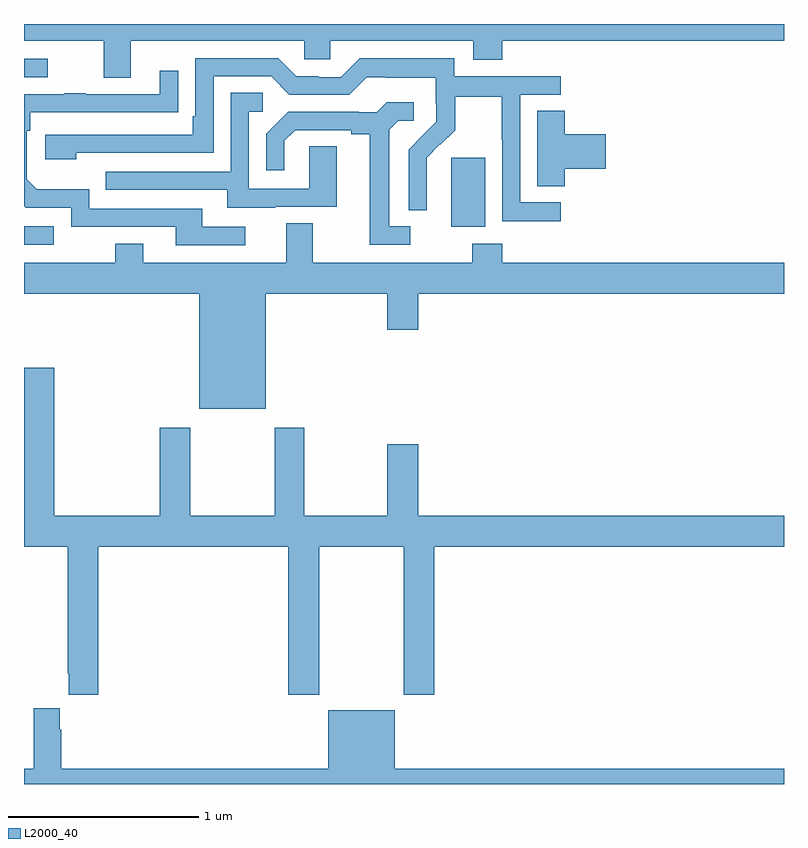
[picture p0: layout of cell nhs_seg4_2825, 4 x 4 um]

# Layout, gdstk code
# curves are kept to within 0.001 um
import gdstk
lib = gdstk.Library(unit=1e-6, precision=1e-09)
def R(c, l, rs):  # rectangles x0, y0, x1, y1
    for r in rs: c.add(gdstk.rectangle(r[:2], r[2:], *l))
def P(c, l, *ps):  # polygons
    for p in ps: c.add(gdstk.Polygon(p, *l))
L2000_40 = (2000, 40)

nhs_seg4_2825 = lib.new_cell('nhs_seg4_2825')
R(nhs_seg4_2825, L2000_40, [(259,803.739,259.156,803.835), (261.248,803.834,261.427,804.195), (259,804.621,259.126,804.717)])
P(nhs_seg4_2825, L2000_40, [(259.561,804.812),(260.475,804.812),(260.475,804.714),(260.613,804.714),(260.613,804.812),(261.365,804.812),(261.365,804.713),(261.518,804.713),(261.518,804.812),(263,804.812),(263,804.9),(259,804.9),(259,804.812),(259.421,804.812),(259.421,804.618),(259.561,804.618)],
  [(261.826,803.961),(261.612,803.961),(261.612,804.528),(261.826,804.528),(261.826,804.624),(261.264,804.624),(261.264,804.721),(260.767,804.721),(260.667,804.621),(260.552,804.621),(260.552,804.624),(260.433,804.624),(260.337,804.72),(259.902,804.72),(259.902,804.415),(259.889,804.415),(259.889,804.318),(259.113,804.318),(259.113,804.188),(259.274,804.188),(259.274,804.222),(259.998,804.222),(259.998,804.624),(260.301,804.624),(260.397,804.528),(260.712,804.528),(260.805,804.621),(260.905,804.621),(260.905,804.617),(261.168,804.617),(261.168,804.483),(261.17,804.483),(261.17,804.386),(261.024,804.238),(261.024,803.92),(261.12,803.92),(261.119,804.197),(261.189,804.267),(261.192,804.264),(261.269,804.341),(261.269,804.516),(261.514,804.516),(261.514,804.292),(261.516,804.292),(261.516,803.863),(261.826,803.863)],
  [(260.164,803.832),(259.939,803.832),(259.939,803.928),(259.344,803.928),(259.344,804.031),(259.067,804.031),(259.014,804.084),(259.014,804.338),(259.034,804.338),(259.034,804.435),(259.811,804.436),(259.811,804.655),(259.715,804.655),(259.715,804.531),(259.325,804.531),(259.325,804.536),(259.213,804.536),(259.213,804.531),(259,804.531),(259,803.942),(259.008,803.934),(259.248,803.934),(259.248,803.832),(259.799,803.832),(259.799,803.736),(260.164,803.736)],
  [(260.323,803.937),(260.647,803.937),(260.647,804.257),(260.502,804.257),(260.502,804.033),(260.184,804.033),(260.184,804.438),(260.257,804.438),(260.257,804.539),(260.088,804.539),(260.088,804.123),(259.429,804.123),(259.429,804.027),(260.069,804.027),(260.069,803.933),(260.323,803.933)],
  [(261.034,803.835),(260.923,803.835),(260.923,804.343),(260.97,804.39),(261.052,804.39),(261.052,804.487),(260.908,804.487),(260.856,804.435),(260.762,804.435),(260.762,804.438),(260.39,804.438),(260.274,804.322),(260.274,804.129),(260.371,804.129),(260.371,804.285),(260.428,804.342),(260.723,804.342),(260.723,804.32),(260.819,804.32),(260.819,803.739),(261.034,803.739)],
  [(261.845,804.137),(262.063,804.137),(262.063,804.32),(261.845,804.32),(261.845,804.443),(261.701,804.443),(261.701,804.046),(261.845,804.046)],
  [(260.272,803.48),(260.912,803.48),(260.912,803.292),(261.076,803.292),(261.076,803.48),(263,803.48),(263,803.644),(261.518,803.644),(261.518,803.743),(261.358,803.743),(261.358,803.644),(260.521,803.644),(260.521,803.852),(260.381,803.852),(260.381,803.644),(259.627,803.644),(259.627,803.743),(259.48,803.743),(259.48,803.644),(259,803.644),(259,803.48),(259.922,803.48),(259.922,802.874),(260.272,802.874)],
  [(259.16,803.092),(259,803.092),(259,802.148),(259.231,802.148),(259.231,801.481),(259.235,801.481),(259.235,801.369),(259.391,801.369),(259.391,802.148),(260.392,802.148),(260.392,801.369),(260.553,801.369),(260.553,802.148),(260.998,802.148),(260.998,801.369),(261.158,801.369),(261.158,802.148),(263,802.148),(263,802.312),(261.076,802.312),(261.076,802.687),(260.912,802.687),(260.912,802.312),(260.475,802.312),(260.475,802.774),(260.32,802.774),(260.32,802.312),(259.875,802.312),(259.875,802.774),(259.715,802.774),(259.715,802.312),(259.16,802.312)],
  [(263,800.98),(260.95,800.98),(260.95,801.289),(260.6,801.289),(260.6,800.98),(259.196,800.98),(259.196,801.185),(259.189,801.185),(259.189,801.298),(259.052,801.298),(259.052,800.98),(259,800.98),(259,800.9),(263,800.9)])

lib.write_gds('nhs_seg4_2825.gds')
